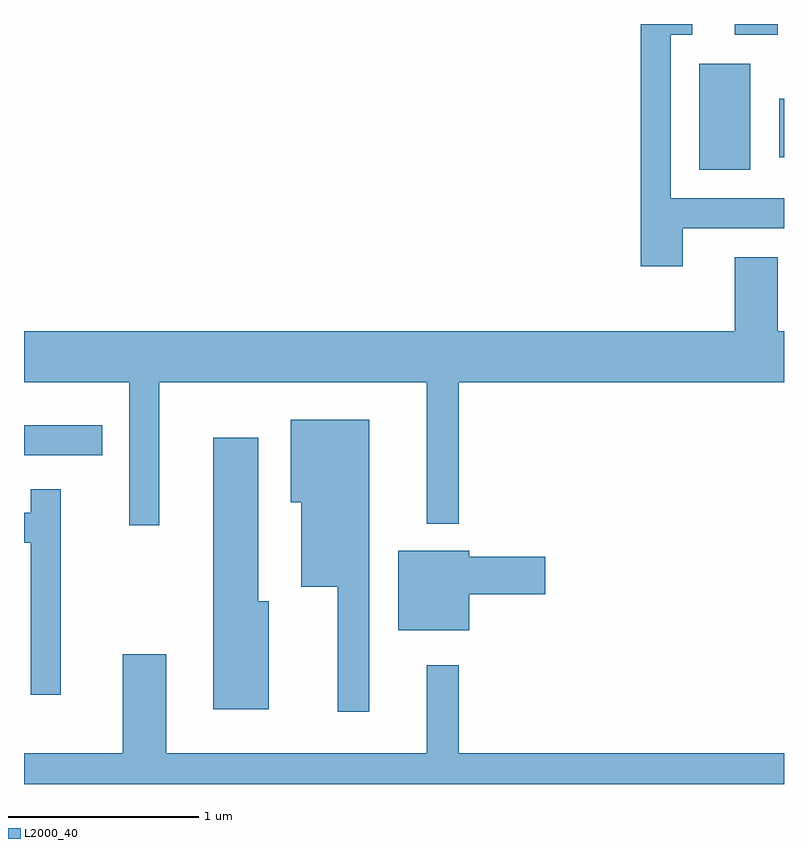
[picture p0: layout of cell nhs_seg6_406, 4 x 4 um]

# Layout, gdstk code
import gdstk
lib = gdstk.Library(unit=1e-6, precision=1e-09)
def R(c, l, rs):  # rectangles x0, y0, x1, y1
    for r in rs: c.add(gdstk.rectangle(r[:2], r[2:], *l))
def P(c, l, *ps):  # polygons
    for p in ps: c.add(gdstk.Polygon(p, *l))
L2000_40 = (2000, 40)

nhs_seg6_406 = lib.new_cell('nhs_seg6_406')
R(nhs_seg6_406, L2000_40, [(197.611,1531.891,198.023,1532.049), (201.166,1533.396,201.434,1533.954), (201.586,1533.461,201.611,1533.769), (201.351,1534.106,201.579,1534.162)])
P(nhs_seg6_406, L2000_40, [(201.079,1533.086),(201.611,1533.086),(201.611,1533.244),(201.014,1533.244),(201.014,1534.106),(201.128,1534.106),(201.128,1534.162),(200.856,1534.162),(200.856,1532.886),(201.079,1532.886)],
  [(198.324,1532.276),(199.731,1532.276),(199.731,1531.533),(199.899,1531.533),(199.899,1532.276),(201.611,1532.276),(201.611,1532.544),(201.579,1532.544),(201.579,1532.934),(201.351,1532.934),(201.351,1532.544),(197.611,1532.544),(197.611,1532.276),(198.166,1532.276),(198.166,1531.523),(198.324,1531.523)],
  [(199.429,1532.079),(199.016,1532.079),(199.016,1531.646),(199.071,1531.646),(199.071,1531.201),(199.261,1531.201),(199.261,1530.543),(199.429,1530.543)],
  [(198.899,1531.124),(198.844,1531.124),(198.844,1531.984),(198.606,1531.984),(198.606,1530.556),(198.899,1530.556)],
  [(197.804,1531.713),(197.646,1531.713),(197.646,1531.589),(197.611,1531.589),(197.611,1531.431),(197.646,1531.431),(197.646,1530.633),(197.804,1530.633)],
  [(199.954,1531.161),(200.354,1531.161),(200.354,1531.359),(199.954,1531.359),(199.954,1531.389),(199.581,1531.389),(199.581,1530.971),(199.954,1530.971)],
  [(201.611,1530.324),(199.899,1530.324),(199.899,1530.788),(199.731,1530.788),(199.731,1530.324),(198.359,1530.324),(198.359,1530.844),(198.131,1530.844),(198.131,1530.324),(197.611,1530.324),(197.611,1530.162),(201.611,1530.162)])

lib.write_gds('nhs_seg6_406.gds')
